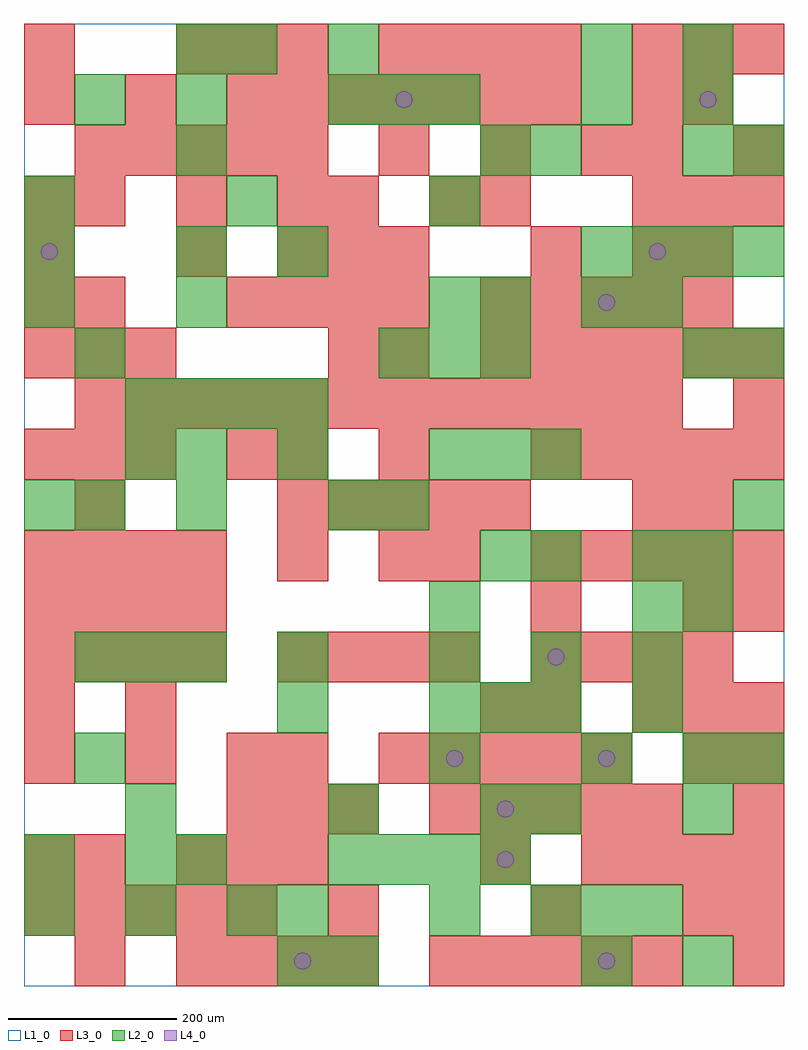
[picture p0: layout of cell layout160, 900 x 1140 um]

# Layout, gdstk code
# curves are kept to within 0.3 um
import gdstk
lib = gdstk.Library(unit=1e-6, precision=1e-09)
def R(c, l, rs):  # rectangles x0, y0, x1, y1
    for r in rs: c.add(gdstk.rectangle(r[:2], r[2:], *l))
def A(c, l, x, y, w, h, nx, ny, dx, dy):  # array of equal rectangles
    R(c, l, [(x+i*dx, y+j*dy, x+i*dx+w, y+j*dy+h) for i in range(nx) for j in range(ny)])
def P(c, l, *ps):  # polygons
    for p in ps: c.add(gdstk.Polygon(p, *l))
L1_0 = (1, 0)
L2_0 = (2, 0)
L3_0 = (3, 0)
L4_0 = (4, 0)

layout160 = lib.new_cell('layout160')
R(layout160, L1_0, [(0,0,900,1140)])
A(layout160, L2_0, 0, 60, 60, 60, 3, 1, 120, 0)
A(layout160, L2_0, 480, 60, 60, 60, 1, 3, 0, 180)
A(layout160, L2_0, 600, 60, 60, 60, 3, 1, 60, 0)
A(layout160, L2_0, 360, 120, 60, 60, 4, 1, 60, 0)
A(layout160, L2_0, 540, 180, 60, 60, 1, 3, 0, 300)
A(layout160, L2_0, 480, 300, 60, 60, 3, 2, 60, 300)
A(layout160, L2_0, 60, 360, 60, 60, 3, 1, 60, 0)
A(layout160, L2_0, 300, 360, 60, 60, 1, 3, 0, 240)
A(layout160, L2_0, 480, 360, 60, 60, 3, 1, 120, 0)
A(layout160, L2_0, 780, 480, 60, 60, 1, 3, 0, 240)
A(layout160, L2_0, 120, 660, 60, 60, 4, 1, 60, 0)
A(layout160, L2_0, 420, 720, 60, 60, 3, 1, 60, 0)
A(layout160, L2_0, 660, 840, 60, 60, 4, 1, 60, 0)
A(layout160, L2_0, 0, 900, 60, 60, 3, 1, 240, 0)
A(layout160, L2_0, 180, 960, 60, 60, 1, 3, 0, 60)
A(layout160, L2_0, 360, 1020, 60, 60, 3, 1, 60, 0)
R(layout160, L2_0, [(300,0,360,60), (360,0,420,60), (660,0,720,60), (780,0,840,60), (300,60,360,120), (0,120,60,180), (120,120,180,180), (180,120,240,180), (120,180,180,240), (360,180,420,240), (600,180,660,240), (780,180,840,240), (60,240,120,300), (660,240,720,300), (780,240,840,300), (840,240,900,300), (300,300,360,360), (720,300,780,360), (720,420,780,480), (780,420,840,480), (600,480,660,540), (720,480,780,540), (0,540,60,600), (60,540,120,600), (180,540,240,600), (360,540,420,600), (420,540,480,600), (840,540,900,600), (120,600,180,660), (180,600,240,660), (60,720,120,780), (840,720,900,780), (0,780,60,840), (180,780,240,840), (480,780,540,840), (660,780,720,840), (720,780,780,840), (0,840,60,900), (180,840,240,900), (540,960,600,1020), (600,960,660,1020), (840,960,900,1020), (60,1020,120,1080), (660,1020,720,1080), (780,1020,840,1080), (240,1080,300,1140), (360,1080,420,1140), (660,1080,720,1140), (780,1080,840,1140)])
A(layout160, L3_0, 180, 0, 60, 60, 4, 1, 60, 0)
A(layout160, L3_0, 480, 0, 60, 60, 5, 2, 60, 180)
A(layout160, L3_0, 0, 60, 60, 60, 5, 1, 60, 0)
A(layout160, L3_0, 780, 60, 60, 60, 1, 3, 0, 180)
A(layout160, L3_0, 180, 120, 60, 60, 3, 2, 60, 960)
A(layout160, L3_0, 660, 120, 60, 60, 4, 1, 60, 0)
A(layout160, L3_0, 240, 180, 60, 60, 3, 1, 60, 0)
A(layout160, L3_0, 0, 240, 60, 60, 3, 2, 120, 780)
A(layout160, L3_0, 420, 240, 60, 60, 5, 1, 60, 0)
A(layout160, L3_0, 720, 300, 60, 60, 3, 2, 60, 600)
A(layout160, L3_0, 0, 360, 60, 60, 4, 3, 60, 60)
A(layout160, L3_0, 300, 360, 60, 60, 4, 1, 60, 0)
A(layout160, L3_0, 600, 360, 60, 60, 4, 1, 60, 0)
A(layout160, L3_0, 420, 480, 60, 60, 1, 3, 0, 120)
A(layout160, L3_0, 600, 480, 60, 60, 5, 2, 60, 120)
A(layout160, L3_0, 300, 540, 60, 60, 5, 1, 60, 0)
A(layout160, L3_0, 0, 600, 60, 60, 3, 2, 60, 120)
A(layout160, L3_0, 60, 660, 60, 60, 12, 1, 60, 0)
A(layout160, L3_0, 540, 720, 60, 60, 6, 1, 60, 0)
A(layout160, L3_0, 0, 780, 60, 60, 1, 3, 0, 60)
A(layout160, L3_0, 240, 780, 60, 60, 4, 1, 60, 0)
A(layout160, L3_0, 540, 780, 60, 60, 5, 1, 60, 0)
A(layout160, L3_0, 300, 840, 60, 60, 3, 1, 60, 0)
A(layout160, L3_0, 60, 900, 60, 60, 3, 1, 120, 0)
A(layout160, L3_0, 60, 960, 60, 60, 5, 1, 60, 0)
A(layout160, L3_0, 420, 960, 60, 60, 3, 1, 120, 0)
A(layout160, L3_0, 300, 1020, 60, 60, 6, 1, 60, 0)
A(layout160, L3_0, 420, 1080, 60, 60, 4, 1, 60, 0)
A(layout160, L3_0, 720, 1080, 60, 60, 3, 1, 60, 0)
R(layout160, L3_0, [(60,0,120,60), (840,0,900,60), (360,60,420,120), (600,60,660,120), (840,60,900,120), (0,120,60,180), (60,120,120,180), (540,120,600,180), (840,180,900,240), (300,240,360,300), (840,240,900,300), (0,300,60,360), (120,300,180,360), (540,300,600,360), (600,300,660,360), (600,420,660,480), (840,420,900,480), (300,480,360,540), (480,480,540,540), (60,540,120,600), (720,540,780,600), (780,540,840,600), (240,600,300,660), (300,600,360,660), (840,660,900,720), (360,720,420,780), (60,780,120,840), (180,840,240,900), (600,840,660,900), (720,840,780,900), (780,840,840,900), (360,900,420,960), (480,900,540,960), (540,900,600,960), (720,960,780,1020), (840,960,900,1020), (720,1020,780,1080), (780,1020,840,1080), (0,1080,60,1140)])
P(layout160, L4_0, [(40,870),(39.239,873.827),(37.071,877.071),(33.827,879.239),(30,880),(26.173,879.239),(22.929,877.071),(20.761,873.827),(20,870),(20.761,866.173),(22.929,862.929),(26.173,860.761),(30,860),(33.827,860.761),(37.071,862.929),(39.239,866.173)],
  [(340,30),(339.239,33.827),(337.071,37.071),(333.827,39.239),(330,40),(326.173,39.239),(322.929,37.071),(320.761,33.827),(320,30),(320.761,26.173),(322.929,22.929),(326.173,20.761),(330,20),(333.827,20.761),(337.071,22.929),(339.239,26.173)],
  [(460,1050),(459.239,1053.827),(457.071,1057.071),(453.827,1059.239),(450,1060),(446.173,1059.239),(442.929,1057.071),(440.761,1053.827),(440,1050),(440.761,1046.173),(442.929,1042.929),(446.173,1040.761),(450,1040),(453.827,1040.761),(457.071,1042.929),(459.239,1046.173)],
  [(520,270),(519.239,273.827),(517.071,277.071),(513.827,279.239),(510,280),(506.173,279.239),(502.929,277.071),(500.761,273.827),(500,270),(500.761,266.173),(502.929,262.929),(506.173,260.761),(510,260),(513.827,260.761),(517.071,262.929),(519.239,266.173)],
  [(580,150),(579.239,153.827),(577.071,157.071),(573.827,159.239),(570,160),(566.173,159.239),(562.929,157.071),(560.761,153.827),(560,150),(560.761,146.173),(562.929,142.929),(566.173,140.761),(570,140),(573.827,140.761),(577.071,142.929),(579.239,146.173)],
  [(580,210),(579.239,213.827),(577.071,217.071),(573.827,219.239),(570,220),(566.173,219.239),(562.929,217.071),(560.761,213.827),(560,210),(560.761,206.173),(562.929,202.929),(566.173,200.761),(570,200),(573.827,200.761),(577.071,202.929),(579.239,206.173)],
  [(640,390),(639.239,393.827),(637.071,397.071),(633.827,399.239),(630,400),(626.173,399.239),(622.929,397.071),(620.761,393.827),(620,390),(620.761,386.173),(622.929,382.929),(626.173,380.761),(630,380),(633.827,380.761),(637.071,382.929),(639.239,386.173)],
  [(700,30),(699.239,33.827),(697.071,37.071),(693.827,39.239),(690,40),(686.173,39.239),(682.929,37.071),(680.761,33.827),(680,30),(680.761,26.173),(682.929,22.929),(686.173,20.761),(690,20),(693.827,20.761),(697.071,22.929),(699.239,26.173)],
  [(700,270),(699.239,273.827),(697.071,277.071),(693.827,279.239),(690,280),(686.173,279.239),(682.929,277.071),(680.761,273.827),(680,270),(680.761,266.173),(682.929,262.929),(686.173,260.761),(690,260),(693.827,260.761),(697.071,262.929),(699.239,266.173)],
  [(700,810),(699.239,813.827),(697.071,817.071),(693.827,819.239),(690,820),(686.173,819.239),(682.929,817.071),(680.761,813.827),(680,810),(680.761,806.173),(682.929,802.929),(686.173,800.761),(690,800),(693.827,800.761),(697.071,802.929),(699.239,806.173)],
  [(760,870),(759.239,873.827),(757.071,877.071),(753.827,879.239),(750,880),(746.173,879.239),(742.929,877.071),(740.761,873.827),(740,870),(740.761,866.173),(742.929,862.929),(746.173,860.761),(750,860),(753.827,860.761),(757.071,862.929),(759.239,866.173)],
  [(820,1050),(819.239,1053.827),(817.071,1057.071),(813.827,1059.239),(810,1060),(806.173,1059.239),(802.929,1057.071),(800.761,1053.827),(800,1050),(800.761,1046.173),(802.929,1042.929),(806.173,1040.761),(810,1040),(813.827,1040.761),(817.071,1042.929),(819.239,1046.173)])

lib.write_gds('layout160.gds')
